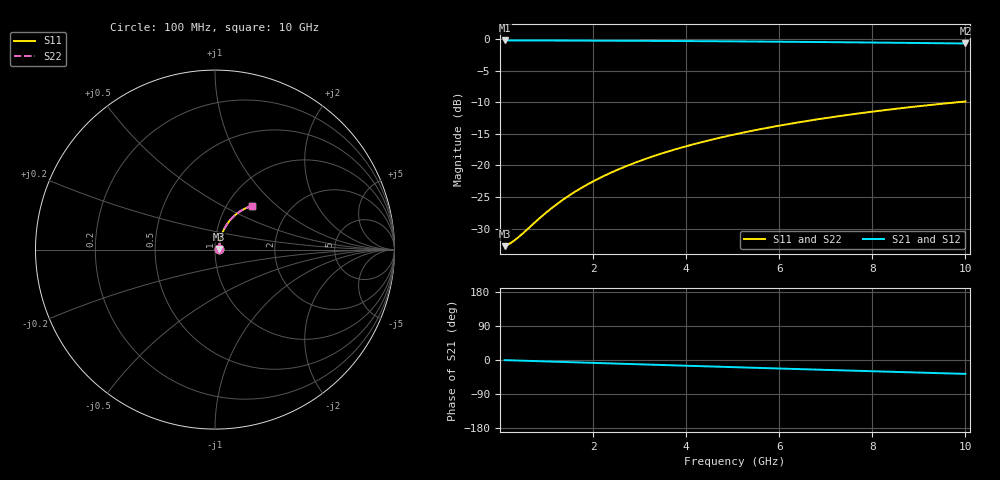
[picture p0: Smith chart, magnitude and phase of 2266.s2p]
# Hz S RI R 50.00
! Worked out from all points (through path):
!   100 points, 100 MHz to 10 GHz, reference 50 ohm
!   highest |S21| = -0.20 dB at 100 MHz (marker M1); lowest = -0.7 dB at 10 GHz (marker M2)
!   group delay of S21, straight-line fit = 10.2 ps
!   lowest |S11| = -32.8 dB at 100 MHz (marker M3), VSWR 1.05, Z = 52.3 + j0.358 ohm
!   |S11| at or under -10 dB: start of sweep to 9.811 GHz
!   |S22| runs from -32.8 to -9.9 dB; largest |S21 - S12| = 0
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1e8  0.0227 0.00342  0.9773 -0.00648  0.9773 -0.00648  0.0227 0.00342
2e8  0.0229 0.00683  0.977 -0.013  0.977 -0.013  0.0229 0.00683
3e8  0.0231 0.0102  0.9768 -0.0194  0.9768 -0.0194  0.0231 0.0102
4e8  0.0234 0.0136  0.9765 -0.0259  0.9765 -0.0259  0.0234 0.0136
9e8  0.0252 0.0306  0.9744 -0.0582  0.9744 -0.0582  0.0252 0.0306
1.2e9  0.0267 0.0407  0.9726 -0.0775  0.9726 -0.0775  0.0267 0.0407
1.5e9  0.0287 0.0507  0.9702 -0.0967  0.9702 -0.0967  0.0287 0.0507
1.8e9  0.031 0.0607  0.9674 -0.1158  0.9674 -0.1158  0.031 0.0607
2.1e9  0.0337 0.0705  0.9642 -0.1348  0.9642 -0.1348  0.0337 0.0705
2.5e9  0.0378 0.0834  0.9591 -0.1599  0.9591 -0.1599  0.0378 0.0834
2.9e9  0.0427 0.096  0.9532 -0.1848  0.9532 -0.1848  0.0427 0.096
3.4e9  0.0496 0.1113  0.9448 -0.2155  0.9448 -0.2155  0.0496 0.1113
3.8e9  0.0559 0.1232  0.9372 -0.2396  0.9372 -0.2396  0.0559 0.1232
4.2e9  0.0627 0.1347  0.9288 -0.2634  0.9288 -0.2634  0.0627 0.1347
4.6e9  0.0701 0.1458  0.9197 -0.2867  0.9197 -0.2867  0.0701 0.1458
5.1e9  0.0801 0.159  0.9074 -0.3153  0.9074 -0.3153  0.0801 0.159
5.9e9  0.0976 0.1786  0.8856 -0.3595  0.8856 -0.3595  0.0976 0.1786
6.7e9  0.1169 0.1961  0.8614 -0.4016  0.8614 -0.4016  0.1169 0.1961
7.5e9  0.1376 0.2114  0.8351 -0.4416  0.8351 -0.4416  0.1376 0.2114
8.4e9  0.1622 0.2259  0.8034 -0.4838  0.8034 -0.4838  0.1622 0.2259
9.2e9  0.1851 0.2362  0.7735 -0.5188  0.7735 -0.5188  0.1851 0.2362
1e10  0.2085 0.2442  0.7423 -0.5515  0.7423 -0.5515  0.2085 0.2442
